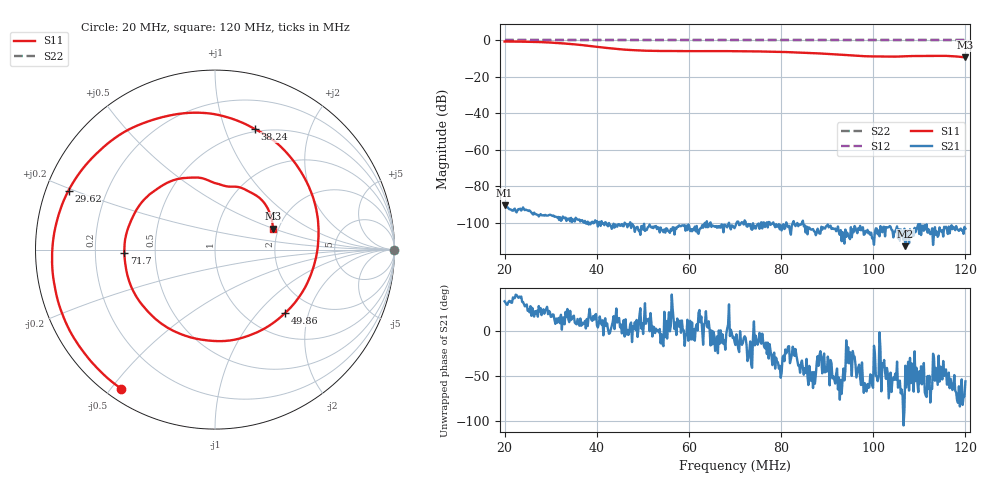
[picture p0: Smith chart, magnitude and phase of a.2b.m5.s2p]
! Anritsu VNA Master:  Model: MS2036C/10/77
! SN:  1601066
! /bd0/18may09/252.ns.m5.s2p
! Existing Calibration Information:
! TYPE:  Current Settings,  Active Cal Settings
! TIME:  05/09/2018 08:59:09 AM,  05/09/2018 08:47:23 AM
! INTERNAL TEMP:  40.0 C,  40.0 C
! # POINTS:  500,  500
! START FREQ:  20.000 MHz,  20.000 MHz
! STOP FREQ:  120.000 MHz,  120.000 MHz
! SOURCE POWER:  High,  High
! IFBW:  50 Hz,  50 Hz
! AVG FACTOR:  1 ,  1
! REF PLANE 1:  0 mm,  0 mm
! REF PLANE 2:  0 mm,  0 mm
! CAL TYPE:  Full S11,  Full S11
! CAL METHOD:  SOLT,  SOLT
! CAL LINE TYPE:  Coax,  Coax
! DUT PORT 1:  K-Conn(F),  K-Conn(F)
! DUT PORT 2:  K-Conn(F),  K-Conn(F)
! CAL STATUS:  OK: Accuracy High,  --
# GHZ S DB R 50.0
! FREQ.GHZ  S11DB  S11A  S21DB  S21A  S12DB  S12A  S22DB  S22A
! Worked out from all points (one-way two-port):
!   500 points, 20 MHz to 120 MHz, reference 50 ohm
!   highest |S21| = -90.52 dB at 20 MHz (marker M1); lowest = -113.0 dB at 107 MHz (marker M2)
!   lowest |S11| = -9.3 dB at 120 MHz (marker M3), VSWR 2.04, Z = 93.2 + j24.6 ohm
!   |S11| at or under -10 dB: nowhere
!   |S22| runs from 0.0 to 0.0 dB; largest |S21 - S12| = 1
!   S11 on the Smith chart (normalised r, x): 20 MHz: 0.04, -0.53; 29.62 MHz: 0.07, +0.19; 38.24 MHz: 0.47, +1.27; 49.86 MHz: 1.45, -1.42; 71.7 MHz: 0.33, -0.01; 120 MHz: 1.86, +0.49
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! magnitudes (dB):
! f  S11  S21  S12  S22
! 20 MHz  -0.6  -90.5  0.0  0.0
! 25.01 MHz  -0.7  -93.3  0.0  0.0
! 29.62 MHz  -1.1  -95.9  0.0  0.0
! 32.83 MHz  -1.6  -97.2  0.0  0.0
! 36.83 MHz  -2.6  -98.6  0.0  0.0
! 38.24 MHz  -3.0  -101.1  0.0  0.0
! 44.85 MHz  -4.8  -100.9  0.0  0.0
! 46.85 MHz  -5.2  -100.8  0.0  0.0
! 49.86 MHz  -5.6  -102.0  0.0  0.0
! 53.47 MHz  -5.8  -102.8  0.0  0.0
! 57.07 MHz  -5.9  -102.8  0.0  0.0
! 70.1 MHz  -5.9  -101.9  0.0  0.0
! 71.7 MHz  -5.9  -100.3  0.0  0.0
! 79.92 MHz  -6.3  -101.5  0.0  0.0
! 86.73 MHz  -6.9  -103.7  0.0  0.0
! 93.35 MHz  -7.9  -105.2  0.0  0.0
! 97.56 MHz  -8.6  -103.6  0.0  0.0
! 103.4 MHz  -8.9  -102.6  0.0  0.0
! 107 MHz  -8.7  -113.0  0.0  0.0
! 115 MHz  -8.4  -104.1  0.0  0.0
! 117.4 MHz  -8.7  -102.4  0.0  0.0
! 120 MHz  -9.3  -103.3  0.0  0.0
